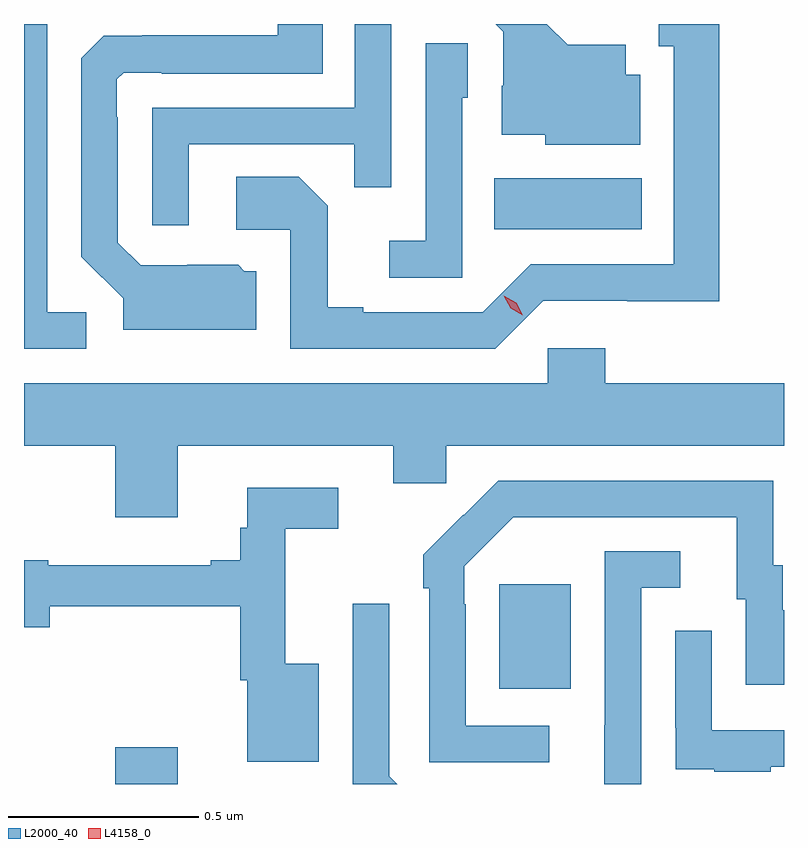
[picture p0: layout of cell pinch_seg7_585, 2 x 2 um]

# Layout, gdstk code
import gdstk
lib = gdstk.Library(unit=1e-6, precision=1e-09)
def R(c, l, rs):  # rectangles x0, y0, x1, y1
    for r in rs: c.add(gdstk.rectangle(r[:2], r[2:], *l))
def P(c, l, *ps):  # polygons
    for p in ps: c.add(gdstk.Polygon(p, *l))
L2000_40 = (2000, 40)
L4158_0 = (4158, 0)

pinch_seg7_585 = lib.new_cell('pinch_seg7_585')
R(pinch_seg7_585, L2000_40, [(141.032,1042.35,141.196,1042.447), (142.043,1042.601,142.231,1042.876), (142.03,1043.81,142.417,1043.944)])
P(pinch_seg7_585, L2000_40, [(142.414,1044.217),(142.375,1044.217),(142.375,1044.295),(142.223,1044.295),(142.167,1044.35),(142.033,1044.35),(142.053,1044.33),(142.053,1044.188),(142.049,1044.188),(142.049,1044.059),(142.164,1044.059),(142.164,1044.032),(142.414,1044.032)],
  [(141.225,1044.033),(141.661,1044.033),(141.661,1043.92),(141.759,1043.92),(141.759,1044.35),(141.663,1044.35),(141.663,1044.129),(141.129,1044.129),(141.129,1043.82),(141.225,1043.82)],
  [(142.158,1043.622),(142.38,1043.622),(142.38,1043.621),(142.621,1043.621),(142.621,1044.35),(142.463,1044.35),(142.463,1044.291),(142.502,1044.291),(142.502,1043.718),(142.125,1043.718),(141.999,1043.592),(141.685,1043.592),(141.685,1043.605),(141.591,1043.605),(141.591,1043.872),(141.515,1043.948),(141.351,1043.948),(141.351,1043.808),(141.492,1043.808),(141.492,1043.496),(142.032,1043.496)],
  [(141.403,1043.7),(141.372,1043.7),(141.356,1043.716),(141.222,1043.716),(141.222,1043.715),(141.099,1043.715),(141.039,1043.775),(141.039,1044.104),(141.036,1044.104),(141.036,1044.204),(141.054,1044.222),(141.154,1044.222),(141.154,1044.219),(141.578,1044.219),(141.578,1044.35),(141.46,1044.35),(141.46,1044.32),(141.103,1044.32),(141.103,1044.319),(141.002,1044.319),(140.943,1044.26),(140.943,1043.738),(141.053,1043.628),(141.053,1043.546),(141.403,1043.546)],
  [(140.956,1043.592),(140.853,1043.592),(140.853,1044.35),(140.792,1044.35),(140.792,1043.496),(140.956,1043.496)],
  [(141.945,1044.156),(141.96,1044.156),(141.96,1044.299),(141.849,1044.299),(141.849,1043.779),(141.753,1043.779),(141.753,1043.682),(141.945,1043.682)],
  [(141.196,1043.24),(141.764,1043.24),(141.764,1043.142),(141.903,1043.142),(141.903,1043.24),(142.792,1043.24),(142.792,1043.404),(142.322,1043.404),(142.322,1043.497),(142.17,1043.497),(142.17,1043.404),(140.792,1043.404),(140.792,1043.24),(141.032,1043.24),(141.032,1043.052),(141.196,1043.052)],
  [(142.174,1042.503),(141.954,1042.503),(141.954,1042.823),(141.951,1042.823),(141.951,1042.923),(142.08,1043.052),(142.667,1043.052),(142.667,1042.836),(142.691,1042.836),(142.691,1042.611),(142.792,1042.611),(142.792,1042.807),(142.789,1042.807),(142.789,1042.926),(142.764,1042.926),(142.764,1043.148),(142.04,1043.148),(141.949,1043.057),(141.948,1043.058),(141.843,1042.953),(141.843,1042.865),(141.858,1042.865),(141.858,1042.407),(142.174,1042.407)],
  [(141.568,1042.666),(141.479,1042.666),(141.479,1043.022),(141.619,1043.022),(141.619,1043.13),(141.38,1043.13),(141.38,1043.025),(141.361,1043.025),(141.361,1042.939),(141.284,1042.939),(141.284,1042.926),(140.856,1042.926),(140.856,1042.939),(140.792,1042.939),(140.792,1042.763),(140.86,1042.763),(140.86,1042.818),(141.361,1042.818),(141.361,1042.623),(141.38,1042.623),(141.38,1042.409),(141.568,1042.409)],
  [(142.416,1042.866),(142.519,1042.866),(142.519,1042.962),(142.32,1042.962),(142.32,1042.505),(142.319,1042.505),(142.319,1042.35),(142.416,1042.35)],
  [(141.753,1042.371),(141.753,1042.825),(141.657,1042.825),(141.657,1042.35),(141.774,1042.35)],
  [(142.757,1042.395),(142.792,1042.395),(142.792,1042.491),(142.602,1042.491),(142.602,1042.753),(142.506,1042.753),(142.506,1042.498),(142.507,1042.498),(142.507,1042.389),(142.609,1042.389),(142.609,1042.382),(142.757,1042.382)])
P(pinch_seg7_585, L4158_0, [(142.105,1043.583),(142.073,1043.602),(142.055,1043.635),(142.055,1043.635),(142.055,1043.635),(142.087,1043.616),(142.105,1043.583),(142.105,1043.583)])

lib.write_gds('pinch_seg7_585.gds')
